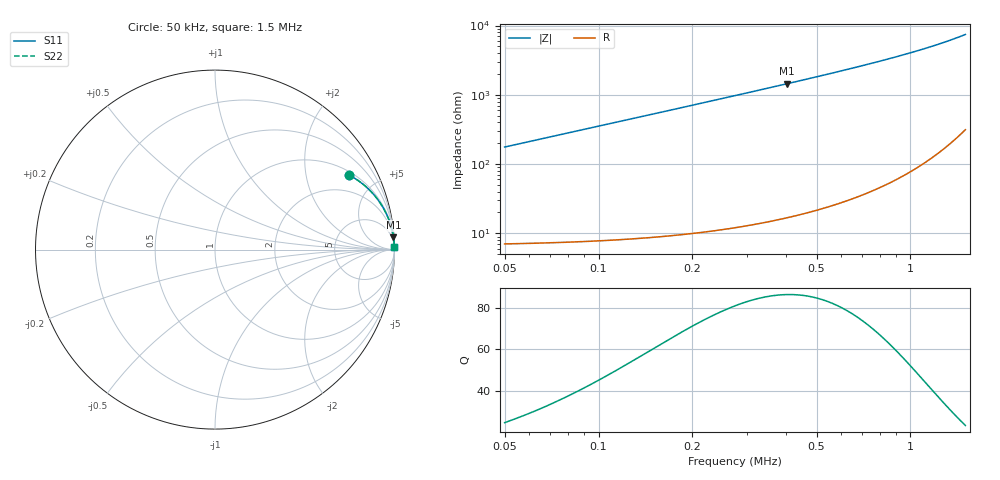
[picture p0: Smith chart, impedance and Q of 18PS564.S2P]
! Coilcraft 1812PS-564 Power Chip Inductor
! 1 October 2002
# MHZ S MA R 50
!Freq  MagS11  AngS11  MagS21  AngS21  MagS12  AngS12  MagS22  AngS22
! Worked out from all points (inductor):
!   364 points, 50 kHz to 1.5 MHz, reference 50 ohm
!   read as one part in series: L = 560 uH near 54 kHz
!   highest Q = 86.2 at 402 kHz (marker M1), where L = 572 uH
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0.05  0.8551 29.0  0.4855 -58.7  0.4855 -58.7  0.8551 29.0
0.058  0.886 25.7  0.4337 -62.3  0.4337 -62.3  0.886 25.7
0.066  0.9084 23.0  0.3908 -65.2  0.3908 -65.2  0.9084 23.0
0.074  0.925 20.8  0.3548 -67.6  0.3548 -67.6  0.925 20.8
0.086  0.9427 18.1  0.3111 -70.5  0.3111 -70.5  0.9427 18.1
0.098  0.9548 16.0  0.2765 -72.7  0.2765 -72.7  0.9548 16.0
0.114  0.9659 13.9  0.2403 -74.9  0.2403 -74.9  0.9659 13.9
0.146  0.9786 10.9  0.1899 -78.1  0.1899 -78.1  0.9786 10.9
0.178  0.9853 9.0  0.1567 -80.1  0.1567 -80.1  0.9853 9.0
0.21  0.9893 7.6  0.1331 -81.6  0.1331 -81.6  0.9893 7.6
0.25  0.9923 6.4  0.1119 -82.8  0.1119 -82.8  0.9923 6.4
0.294  0.9943 5.5  0.09504 -83.9  0.09504 -83.9  0.9943 5.5
0.346  0.9958 4.6  0.08053 -84.7  0.08053 -84.7  0.9958 4.6
0.402  0.9968 4.0  0.069 -85.4  0.069 -85.4  0.9968 4.0
0.466  0.9976 3.4  0.05913 -85.9  0.05913 -85.9  0.9976 3.4
0.534  0.9981 2.9  0.05116 -86.4  0.05116 -86.4  0.9981 2.9
0.646  0.9986 2.4  0.04156 -86.9  0.04156 -86.9  0.9986 2.4
0.778  0.9989 1.9  0.03363 -87.2  0.03363 -87.2  0.9989 1.9
0.89  0.9991 1.6  0.02864 -87.4  0.02864 -87.4  0.9991 1.6
1.018  0.9992 1.4  0.02416 -87.5  0.02416 -87.5  0.9992 1.4
1.262  0.9993 1.0  0.01788 -87.4  0.01788 -87.4  0.9993 1.0
1.5  0.9993 0.8  0.01344 -86.8  0.01344 -86.8  0.9993 0.8
